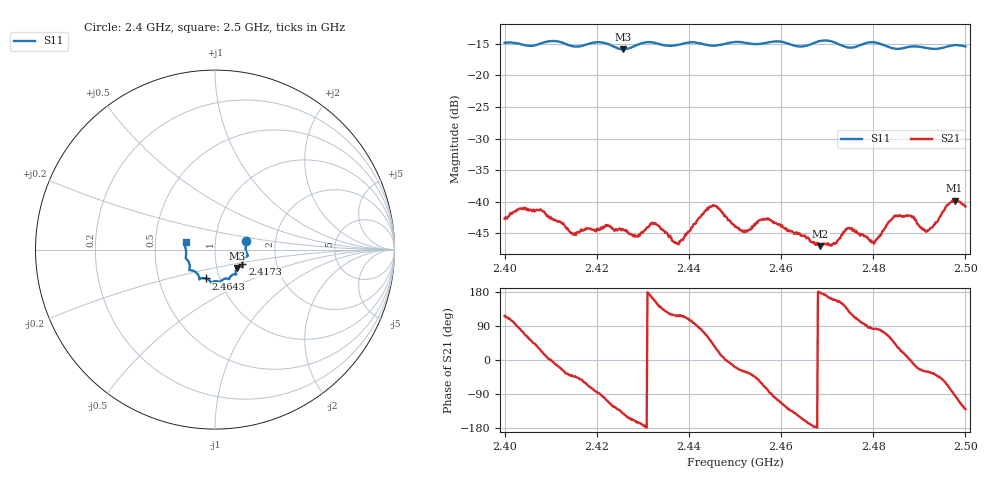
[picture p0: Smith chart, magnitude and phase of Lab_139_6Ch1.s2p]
# Hz S RI R 50
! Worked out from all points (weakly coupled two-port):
!   601 points, 2.4 GHz to 2.5 GHz, reference 50 ohm
!   highest |S21| = -39.80 dB at 2.4977 GHz (marker M1); lowest = -47.0 dB at 2.4685 GHz (marker M2)
!   lowest |S11| = -15.9 dB at 2.4257 GHz (marker M3), VSWR 1.38, Z = 62.5 - j13.1 ohm
!   |S11| at or under -10 dB: start of sweep to end of sweep
!   S12 and S22 are empty: the file has one direction only
!   S11 on the Smith chart (normalised r, x): 2.4 GHz: 1.41, +0.14; 2.4173 GHz: 1.34, -0.23; 2.4643 GHz: 0.86, -0.29; 2.5 GHz: 0.72, +0.06
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2.4e9  0.1734 0.0495  -0.00328 0.0066  0 0  0 0
2.4075e9  0.1757 -0.0161  0.00741 0.00429  0 0  0 0
2.414667e9  0.1613 -0.0523  0.00421 -0.00382  0 0  0 0
2.416667e9  0.153 -0.0747  0.00375 -0.00477  0 0  0 0
2.417333e9  0.1522 -0.082  0.00311 -0.00517  0 0  0 0
2.425667e9  0.123 -0.1025  -0.00469 -0.00389  0 0  0 0
2.428833e9  0.1155 -0.1303  -0.00514 -0.00147  0 0  0 0
2.433333e9  0.1125 -0.1368  -0.00535 0.00366  0 0  0 0
2.437667e9  0.0842 -0.1523  -0.00208 0.00411  0 0  0 0
2.4455e9  0.0516 -0.1632  0.00741 0.00572  0 0  0 0
2.45e9  0.029 -0.1808  0.00602 -0.00203  0 0  0 0
2.457167e9  -0.0144 -0.1809  0.00127 -0.00728  0 0  0 0
2.464333e9  -0.05 -0.1609  -0.00479 -0.00247  0 0  0 0
2.466667e9  -0.0761 -0.1597  -0.00477 -0.000634  0 0  0 0
2.4685e9  -0.0867 -0.1651  -0.00446 0.000208  0 0  0 0
2.474833e9  -0.1048 -0.1279  -0.00362 0.00504  0 0  0 0
2.480167e9  -0.1429 -0.113  0.000682 0.00461  0 0  0 0
2.483333e9  -0.1406 -0.09  0.00323 0.00616  0 0  0 0
2.487667e9  -0.1591 -0.0528  0.00774 0.000633  0 0  0 0
2.491667e9  -0.1614 -0.0286  0.00503 -0.00298  0 0  0 0
2.497667e9  -0.1703 0.0302  -0.000431 -0.0102  0 0  0 0
2.5e9  -0.1634 0.0419  -0.00588 -0.00703  0 0  0 0
